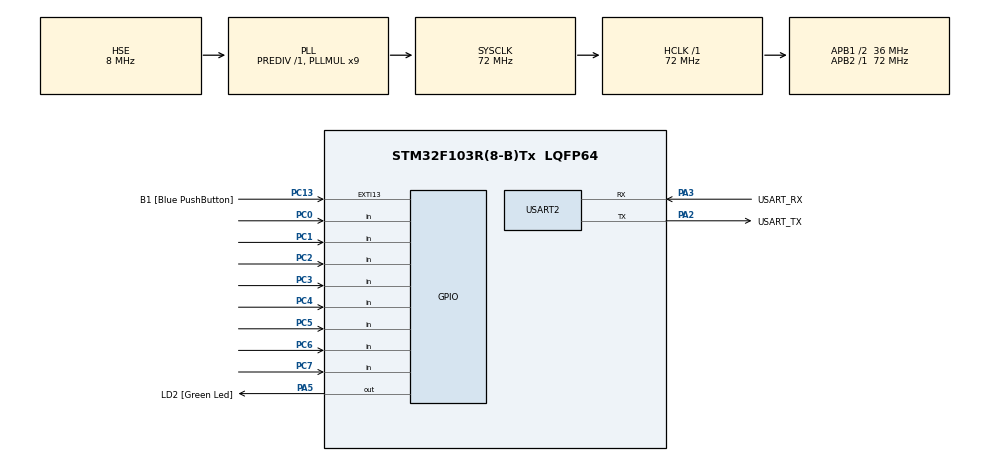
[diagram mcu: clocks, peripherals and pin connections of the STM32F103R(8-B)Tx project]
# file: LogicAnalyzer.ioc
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Dma.Request0=TIM1_UP
Dma.TIM1_UP.0.Direction=DMA_PERIPH_TO_MEMORY
Dma.TIM1_UP.0.Instance=DMA1_Channel5
Dma.TIM1_UP.0.MemDataAlignment=DMA_MDATAALIGN_BYTE
Dma.TIM1_UP.0.MemInc=DMA_MINC_ENABLE
Dma.TIM1_UP.0.Mode=DMA_NORMAL
Dma.TIM1_UP.0.PeriphDataAlignment=DMA_PDATAALIGN_HALFWORD
Dma.TIM1_UP.0.PeriphInc=DMA_PINC_DISABLE
Dma.TIM1_UP.0.Priority=DMA_PRIORITY_VERY_HIGH
Mcu.Family=STM32F1
Mcu.Name=STM32F103R(8-B)Tx
Mcu.Package=LQFP64
NVIC.DMA1_Channel5_IRQn=true\:0\:0\:false\:false\:true\:false\:true
NVIC.EXTI15_10_IRQn=true\:0\:0\:false\:false\:true\:true\:true
NVIC.PriorityGroup=NVIC_PRIORITYGROUP_4
NVIC.TIM1_UP_IRQn=true\:0\:0\:false\:false\:true\:true\:true
PA13.GPIO_Label=TMS
PA13.Mode=Serial_Wire
PA13.Signal=SYS_JTMS-SWDIO
PA14.GPIO_Label=TCK
PA14.Mode=Serial_Wire
PA14.Signal=SYS_JTCK-SWCLK
PA2.GPIO_Label=USART_TX
PA2.GPIO_Mode=GPIO_MODE_AF_PP
PA2.GPIO_PuPd=GPIO_NOPULL
PA2.GPIO_Speed=GPIO_SPEED_FREQ_LOW
PA2.Mode=Asynchronous
PA2.Signal=USART2_TX
PA3.GPIO_Label=USART_RX
PA3.GPIO_Mode=GPIO_MODE_AF_PP
PA3.GPIO_PuPd=GPIO_NOPULL
PA3.GPIO_Speed=GPIO_SPEED_FREQ_LOW
PA3.Mode=Asynchronous
PA3.Signal=USART2_RX
PA5.GPIO_Label=LD2 [Green Led]
PA5.GPIO_ModeDefaultOutputPP=GPIO_MODE_OUTPUT_PP
PA5.GPIO_PuPd=GPIO_NOPULL
PA5.GPIO_Speed=GPIO_SPEED_FREQ_LOW
PA5.Signal=GPIO_Output
PB3.GPIO_Label=SWO
PB3.Signal=SYS_JTDO-TRACESWO
PC0.GPIO_Mode=GPIO_MODE_INPUT
PC0.GPIO_PuPd=GPIO_NOPULL
PC0.Signal=GPIO_Input
PC1.GPIO_Mode=GPIO_MODE_INPUT
PC1.GPIO_PuPd=GPIO_NOPULL
PC1.Signal=GPIO_Input
PC13-TAMPER-RTC.GPIO_Label=B1 [Blue PushButton]
PC13-TAMPER-RTC.GPIO_PuPd=GPIO_NOPULL
PC13-TAMPER-RTC.Signal=GPXTI13
PC14-OSC32_IN.Mode=LSE-External-Oscillator
PC14-OSC32_IN.Signal=RCC_OSC32_IN
PC15-OSC32_OUT.Mode=LSE-External-Oscillator
PC15-OSC32_OUT.Signal=RCC_OSC32_OUT
PC2.GPIO_Mode=GPIO_MODE_INPUT
PC2.GPIO_PuPd=GPIO_NOPULL
PC2.Signal=GPIO_Input
PC3.GPIO_Mode=GPIO_MODE_INPUT
PC3.GPIO_PuPd=GPIO_NOPULL
PC3.Signal=GPIO_Input
PC4.GPIO_Mode=GPIO_MODE_INPUT
PC4.GPIO_PuPd=GPIO_NOPULL
PC4.Signal=GPIO_Input
PC5.GPIO_Mode=GPIO_MODE_INPUT
PC5.GPIO_PuPd=GPIO_NOPULL
PC5.Signal=GPIO_Input
PC6.GPIO_Mode=GPIO_MODE_INPUT
PC6.GPIO_PuPd=GPIO_NOPULL
PC6.Signal=GPIO_Input
PC7.GPIO_Mode=GPIO_MODE_INPUT
PC7.GPIO_PuPd=GPIO_NOPULL
PC7.Signal=GPIO_Input
PD0-OSC_IN.Mode=HSE-External-Clock-Source
PD0-OSC_IN.Signal=RCC_OSC_IN
PD1-OSC_OUT.Mode=HSE-External-Clock-Source
PD1-OSC_OUT.Signal=RCC_OSC_OUT
ProjectManager.HeapSize=0x200
ProjectManager.StackSize=0x400
ProjectManager.TargetToolchain=STM32CubeIDE
RCC.AHBFreq_Value=72000000
RCC.APB1CLKDivider=RCC_HCLK_DIV2
RCC.APB1Freq_Value=36000000
RCC.APB1TimFreq_Value=72000000
RCC.APB2Freq_Value=72000000
RCC.APB2TimFreq_Value=72000000
RCC.HCLKFreq_Value=72000000
RCC.PLLMUL=RCC_PLL_MUL9
RCC.PLLSourceVirtual=RCC_PLLSOURCE_HSE
RCC.RTCClockSelection=RCC_RTCCLKSOURCE_LSE
RCC.SYSCLKFreq_VALUE=72000000
RCC.SYSCLKSource=RCC_SYSCLKSOURCE_PLLCLK
RCC.USBFreq_Value=72000000
TIM1.AutoReloadPreload=TIM_AUTORELOAD_PRELOAD_ENABLE
TIM1.Period=0xFFFF
TIM1.Prescaler=100
TIM1.TIM_MasterOutputTrigger=TIM_TRGO_UPDATE
USART2.VirtualMode=VM_ASYNC
VP_TIM1_VS_ClockSourceINT.Mode=Internal
board=NUCLEO-F103RB

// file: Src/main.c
/* USER CODE BEGIN Header */
/**
  ******************************************************************************
  * @file           : main.c
  * @brief          : Main program body
  ******************************************************************************
  * @attention
  *
  * <h2><center>&copy; Copyright (c) 2019 STMicroelectronics.
  * All rights reserved.</center></h2>
  *
  * This software component is licensed by ST under BSD 3-Clause license,
  * the "License"; You may not use this file except in compliance with the
  * License. You may obtain a copy of the License at:
  *                        opensource.org/licenses/BSD-3-Clause
  *
  ******************************************************************************
  */
/* USER CODE END Header */

#include "LA.h"
#include "main.h"

/* USER CODE BEGIN Includes */
#include "sump.h"
/* USER CODE END Includes */

TIM_HandleTypeDef htim1;
DMA_HandleTypeDef hdma_tim1_up;

UART_HandleTypeDef huart2;

void SystemClock_Config(void);
static void MX_GPIO_Init(void);
static void MX_DMA_Init(void);
static void MX_USART2_UART_Init(void);
static void MX_TIM1_Init(void);

/* USER CODE BEGIN 0 */
uint8_t receivedData[5];
/* USER CODE END 0 */

int main(void)
{

  /* MCU Configuration--------------------------------------------------------*/

  /* Reset of all peripherals, Initializes the Flash interface and the Systick. */
  HAL_Init();

  /* Configure the system clock */
  SystemClock_Config();

  /* Initialize all configured peripherals */
  MX_GPIO_Init();
  MX_DMA_Init();
  MX_USART2_UART_Init();
  MX_TIM1_Init();
  /* USER CODE BEGIN 2 */
  HAL_StatusTypeDef halResult;
  uint8_t responseRequired;
  /* USER CODE END 2 */

  /* Infinite loop */
  /* USER CODE BEGIN WHILE */
  /*
  HAL_DMA_RegisterCallback(&hdma_tim1_up, HAL_DMA_XFER_CPLT_CB_ID, DMA_GPIO_IN_CPLT);
  HAL_DMA_RegisterCallback(&hdma_tim1_up, HAL_DMA_XFER_ERROR_CB_ID, DMA_ERROR);
  HAL_StatusTypeDef status = HAL_DMA_Start_IT(&hdma_tim1_up, (uint32_t)&(GPIOC->IDR), (uint32_t)capturedData, 10);
  if(status != HAL_OK)
  {
	  while(1);
  }
  __HAL_TIM_ENABLE_DMA(&htim1, TIM_DMA_UPDATE);
  HAL_TIM_Base_Start_IT(&htim1);
  */

  while (1)
  {
	  // Get first byte of SUMP command from SUMP client
	  halResult = HAL_UART_Receive(&huart2, receivedData, 1u, 200u);

	  if(halResult == HAL_OK)
	  {
		if(SumpIsLongCommand(receivedData[0]) == TRUE)
		{
			halResult = HAL_UART_Receive(&huart2, &receivedData[1], 4u, 100u);
		}

		if(halResult == HAL_OK)
		{
			responseRequired = SumpAnalyze(receivedData);
			if ( responseRequired == TRUE )
			{
				HAL_UART_Transmit(&huart2, sumpResponse.response, sumpResponse.length, 500);
			}
		}
	  }
	  else
	  {
		  //No command received yet
	  }

    /* USER CODE END WHILE */

    /* USER CODE BEGIN 3 */
	  //Check if controller is armed, if so, send data and unarm
	  if(sumpData.isArmed == TRUE)
	  {
		  LASetSamplingFreq(sumpData.divider);
		  LABeginSampling((sumpData.readCount * 4u) + 4u);
		  while(LAIsSamplingComplete() != TRUE)
		  {

		  }
		  HAL_UART_Transmit(&huart2, capturedData, (sumpData.readCount * 4u) + 4u, 1000u);
		  HAL_UART_Transmit(&huart2, capturedData, 30, 100);
		  sumpData.isArmed = FALSE;
	  }
	  else
	  {
		  // Do Nothing
	  }
  }
  /* USER CODE END 3 */
}

void SystemClock_Config(void)
{
  RCC_OscInitTypeDef RCC_OscInitStruct = {0};
  RCC_ClkInitTypeDef RCC_ClkInitStruct = {0};

  /** Initializes the CPU, AHB and APB busses clocks
  */
  RCC_OscInitStruct.OscillatorType = RCC_OSCILLATORTYPE_HSE;
  RCC_OscInitStruct.HSEState = RCC_HSE_BYPASS;
  RCC_OscInitStruct.HSEPredivValue = RCC_HSE_PREDIV_DIV1;
  RCC_OscInitStruct.HSIState = RCC_HSI_ON;
  RCC_OscInitStruct.PLL.PLLState = RCC_PLL_ON;
  RCC_OscInitStruct.PLL.PLLSource = RCC_PLLSOURCE_HSE;
  RCC_OscInitStruct.PLL.PLLMUL = RCC_PLL_MUL9;
  if (HAL_RCC_OscConfig(&RCC_OscInitStruct) != HAL_OK)
  {
    Error_Handler();
  }
  /** Initializes the CPU, AHB and APB busses clocks
  */
  RCC_ClkInitStruct.ClockType = RCC_CLOCKTYPE_HCLK|RCC_CLOCKTYPE_SYSCLK
                              |RCC_CLOCKTYPE_PCLK1|RCC_CLOCKTYPE_PCLK2;
  RCC_ClkInitStruct.SYSCLKSource = RCC_SYSCLKSOURCE_PLLCLK;
  RCC_ClkInitStruct.AHBCLKDivider = RCC_SYSCLK_DIV1;
  RCC_ClkInitStruct.APB1CLKDivider = RCC_HCLK_DIV2;
  RCC_ClkInitStruct.APB2CLKDivider = RCC_HCLK_DIV1;

  if (HAL_RCC_ClockConfig(&RCC_ClkInitStruct, FLASH_LATENCY_2) != HAL_OK)
  {
    Error_Handler();
  }
}

static void MX_TIM1_Init(void)
{

  TIM_ClockConfigTypeDef sClockSourceConfig = {0};
  TIM_MasterConfigTypeDef sMasterConfig = {0};

  htim1.Instance = TIM1;
  htim1.Init.Prescaler = 100;
  htim1.Init.CounterMode = TIM_COUNTERMODE_UP;
  htim1.Init.Period = 0xFFFF;
  htim1.Init.ClockDivision = TIM_CLOCKDIVISION_DIV1;
  htim1.Init.RepetitionCounter = 0;
  htim1.Init.AutoReloadPreload = TIM_AUTORELOAD_PRELOAD_ENABLE;
  if (HAL_TIM_Base_Init(&htim1) != HAL_OK)
  {
    Error_Handler();
  }
  sClockSourceConfig.ClockSource = TIM_CLOCKSOURCE_INTERNAL;
  if (HAL_TIM_ConfigClockSource(&htim1, &sClockSourceConfig) != HAL_OK)
  {
    Error_Handler();
  }
  sMasterConfig.MasterOutputTrigger = TIM_TRGO_UPDATE;
  sMasterConfig.MasterSlaveMode = TIM_MASTERSLAVEMODE_DISABLE;
  if (HAL_TIMEx_MasterConfigSynchronization(&htim1, &sMasterConfig) != HAL_OK)
  {
    Error_Handler();
  }

}

static void MX_USART2_UART_Init(void)
{

  huart2.Instance = USART2;
  huart2.Init.BaudRate = 115200;
  huart2.Init.WordLength = UART_WORDLENGTH_8B;
  huart2.Init.StopBits = UART_STOPBITS_1;
  huart2.Init.Parity = UART_PARITY_NONE;
  huart2.Init.Mode = UART_MODE_TX_RX;
  huart2.Init.HwFlowCtl = UART_HWCONTROL_NONE;
  huart2.Init.OverSampling = UART_OVERSAMPLING_16;
  if (HAL_UART_Init(&huart2) != HAL_OK)
  {
    Error_Handler();
  }

}

static void MX_DMA_Init(void)
{
  /* DMA controller clock enable */
  __HAL_RCC_DMA1_CLK_ENABLE();

  /* DMA interrupt init */
  /* DMA1_Channel5_IRQn interrupt configuration */
  HAL_NVIC_SetPriority(DMA1_Channel5_IRQn, 0, 0);
  HAL_NVIC_EnableIRQ(DMA1_Channel5_IRQn);

}

static void MX_GPIO_Init(void)
{
  GPIO_InitTypeDef GPIO_InitStruct = {0};

  /* GPIO Ports Clock Enable */
  __HAL_RCC_GPIOC_CLK_ENABLE();
  __HAL_RCC_GPIOD_CLK_ENABLE();
  __HAL_RCC_GPIOA_CLK_ENABLE();
  __HAL_RCC_GPIOB_CLK_ENABLE();

  /*Configure GPIO pin Output Level */
  HAL_GPIO_WritePin(LD2_GPIO_Port, LD2_Pin, GPIO_PIN_RESET);

  /*Configure GPIO pin : B1_Pin */
  GPIO_InitStruct.Pin = B1_Pin;
  GPIO_InitStruct.Mode = GPIO_MODE_IT_RISING;
  GPIO_InitStruct.Pull = GPIO_NOPULL;
  HAL_GPIO_Init(B1_GPIO_Port, &GPIO_InitStruct);

  /*Configure GPIO pins : PC0 PC1 PC2 PC3
                           PC4 PC5 PC6 PC7 */
  GPIO_InitStruct.Pin = GPIO_PIN_0|GPIO_PIN_1|GPIO_PIN_2|GPIO_PIN_3
                          |GPIO_PIN_4|GPIO_PIN_5|GPIO_PIN_6|GPIO_PIN_7;
  GPIO_InitStruct.Mode = GPIO_MODE_INPUT;
  GPIO_InitStruct.Pull = GPIO_NOPULL;
  HAL_GPIO_Init(GPIOC, &GPIO_InitStruct);

  /*Configure GPIO pin : LD2_Pin */
  GPIO_InitStruct.Pin = LD2_Pin;
  GPIO_InitStruct.Mode = GPIO_MODE_OUTPUT_PP;
  GPIO_InitStruct.Pull = GPIO_NOPULL;
  GPIO_InitStruct.Speed = GPIO_SPEED_FREQ_LOW;
  HAL_GPIO_Init(LD2_GPIO_Port, &GPIO_InitStruct);

  /* EXTI interrupt init*/
  HAL_NVIC_SetPriority(EXTI15_10_IRQn, 0, 0);
  HAL_NVIC_EnableIRQ(EXTI15_10_IRQn);

}

void Error_Handler(void)
{
}

/************************ (C) COPYRIGHT STMicroelectronics *****END OF FILE****/
